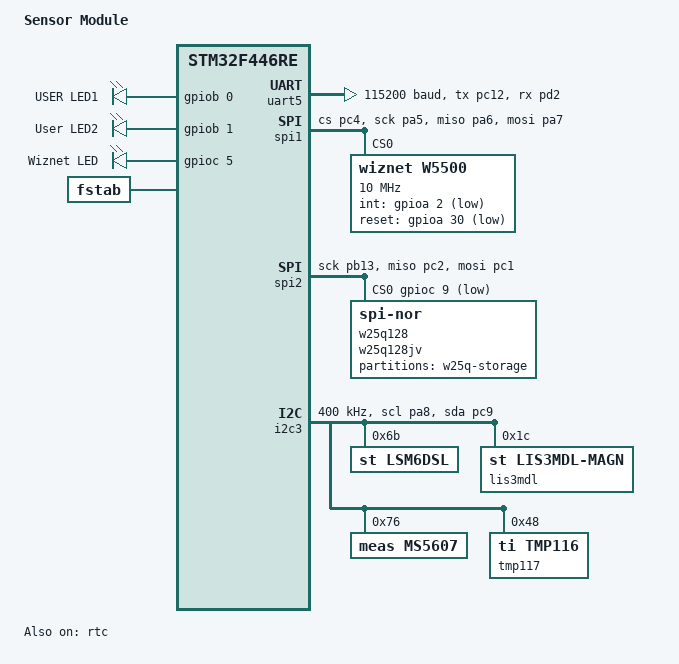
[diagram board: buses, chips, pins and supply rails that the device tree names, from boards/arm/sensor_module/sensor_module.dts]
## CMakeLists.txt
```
set(BOARD sensor_module)
set(BOARD_ROOT ${CMAKE_CURRENT_SOURCE_DIR})

cmake_minimum_required(VERSION 3.13.1)
find_package(Zephyr REQUIRED HINTS $ENV{ZEPHYR_BASE})

project(sensor-module LANGUAGES C)

FILE(GLOB sources src/*.c)
target_sources(app PRIVATE ${sources})

# root include directory
zephyr_include_directories(../include)
```

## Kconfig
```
# Copyright (c) 2024 Aaron Chan
# SPDX-License-Identifier: Apache-2.0

menu "Zephyr"
source "Kconfig.zephyr"
endmenu

module = APP_SENSOR_MODULE
module-str = APP_SENSOR_MODULE
source "subsys/logging/Kconfig.template.log_config"

config TEN_HZ_QUEUE_SIZE
    int "10 Hz Queue Size"
    default 4
    help
      The number of samples that can be stored in the 10 Hz telemetry processing queue

config HUNDRED_HZ_QUEUE_SIZE
    int "100 Hz Queue Size"
    default 16
    help
      The number of samples that can be stored in the 100 Hz telemetry processing queue

config EXTENSION_BOARD_QUEUE_SIZE
    int "Extension Board Queue Size"
    default 16
    help
      The number of samples that can be stored in the extension board telemetry processing queue
```

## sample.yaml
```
sample:
  description:
  name: sensor-module
common:
  build_only: true
  integration_platforms:
    - sensor_module@2
tests:
  app.default: {}
  app.debug:
    extra_overlay_confs:
      - debug.conf
```

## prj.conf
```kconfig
# Copyright (c) 2024 RIT Launch Initiative
# SPDX-License-Identifier: Apache-2.0

# Clocks
CONFIG_CLOCK_CONTROL=y

# Flash
CONFIG_FLASH=y
CONFIG_FLASH_MAP=y
CONFIG_FLASH_PAGE_LAYOUT=y

# Filesystem
CONFIG_DISK_ACCESS=y
CONFIG_FILE_SYSTEM=y
CONFIG_FILE_SYSTEM_LITTLEFS=y
CONFIG_FS_LITTLEFS_FMP_DEV=y

# Hashmap for UDP
CONFIG_SYS_HASH_MAP=y
CONFIG_SYS_HASH_FUNC32=y

# IO
CONFIG_GPIO=y
CONFIG_I2C=y
#CONFIG_I2C_CALLBACK=y
#CONFIG_I2C_RTIO=y
CONFIG_PINCTRL=y
CONFIG_SERIAL=y
CONFIG_SPI=y
CONFIG_SPI_ASYNC=y
# CONFIG_SPI_RTIO=y
CONFIG_LED=y

# OS
CONFIG_POLL=y
CONFIG_TIMESLICE_SIZE=50
CONFIG_MAIN_STACK_SIZE=2048

# Launch Core
CONFIG_LAUNCH_CORE=y
CONFIG_LAUNCH_CORE_NET=y

# Networking
CONFIG_NETWORKING=y
CONFIG_NET_ARP_TABLE_SIZE=4
CONFIG_NET_CONTEXT_RCVTIMEO=y
CONFIG_NET_DEFAULT_IF_ETHERNET=y
CONFIG_NET_DRIVERS=y
CONFIG_NET_IPV4=y
CONFIG_NET_IPV6=n
CONFIG_NET_L2_ETHERNET=y
CONFIG_NET_L2_ETHERNET_MGMT=y
CONFIG_NET_MAX_CONN=10
CONFIG_NET_SOCKETS=y
CONFIG_NET_SOCKETS_POSIX_NAMES=y
CONFIG_NET_STATISTICS=y
#CONFIG_SLIP=y
#CONFIG_SLIP_TAP=y

# Modbus
CONFIG_MODBUS=y

# RNG (Needed for networking)
CONFIG_ENTROPY_GENERATOR=y
CONFIG_TEST_RANDOM_GENERATOR=y # TODO: See if its worth using STM32 HW RNG to remove warning

# Sensors
CONFIG_SENSOR=y
CONFIG_SENSOR_ASYNC_API=y
CONFIG_SENSOR_INFO=y
CONFIG_TMP116=y
CONFIG_BMP388=y
CONFIG_LSM6DSL=y
CONFIG_ADXL375=y
CONFIG_MS5611=y

# State Machine
CONFIG_SMF=y
CONFIG_IREC_2024_DEMO=n
```

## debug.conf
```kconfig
# Copyright (c) 2024 Launch Initiative
# SPDX-License-Identifier: Apache-2.0

# Compiler
CONFIG_DEBUG=y
CONFIG_DEBUG_OPTIMIZATIONS=y
CONFIG_DEBUG_THREAD_INFO=y
CONFIG_THREAD_RUNTIME_STATS=y

# Console
CONFIG_CBPRINTF_FP_SUPPORT=y
CONFIG_CONSOLE=y
CONFIG_CONSOLE_GETCHAR=y
CONFIG_CONSOLE_GETCHAR_BUFSIZE=64
CONFIG_CONSOLE_PUTCHAR_BUFSIZE=512
CONFIG_CONSOLE_SUBSYS=y
CONFIG_SERIAL=y
CONFIG_STDOUT_CONSOLE=y
CONFIG_UART_CONSOLE=y

# Shell (common)
CONFIG_SHELL=y
CONFIG_DEVICE_SHELL=y
CONFIG_FILE_SYSTEM_SHELL=y
CONFIG_FLASH_MAP_SHELL=y
CONFIG_GPIO_SHELL=y
CONFIG_I2C_SHELL=y
CONFIG_KERNEL_SHELL=y
CONFIG_NET_SHELL=y
CONFIG_SENSOR_SHELL=y
CONFIG_HEAP_MEM_POOL_SIZE=4096

# Networking
CONFIG_TFTP_LIB=y

# Logging
CONFIG_APP_SENSOR_MODULE_LOG_LEVEL_DBG=y
CONFIG_LOG=y

# Networking
CONFIG_NET_STATISTICS=y
```

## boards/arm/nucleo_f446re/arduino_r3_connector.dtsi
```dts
/*
 * Copyright (c) 2019 Linaro Limited
 *
 * SPDX-License-Identifier: Apache-2.0
 */

/ {
	arduino_header: connector {
		compatible = "arduino-header-r3";
		#gpio-cells = <2>;
		gpio-map-mask = <0xffffffff 0xffffffc0>;
		gpio-map-pass-thru = <0 0x3f>;
		gpio-map = <0 0 &gpioa 0 0>,	/* A0 */
			   <1 0 &gpioa 1 0>,	/* A1 */
			   <2 0 &gpioa 4 0>,	/* A2 */
			   <3 0 &gpiob 0 0>,	/* A3 */
			   <4 0 &gpioc 1 0>,	/* A4 */
			   <5 0 &gpioc 0 0>,	/* A5 */
			   <6 0 &gpioa 3 0>,	/* D0 */
			   <7 0 &gpioa 2 0>,	/* D1 */
			   <8 0 &gpioa 10 0>,	/* D2 */
			   <9 0 &gpiob 3 0>,	/* D3 */
			   <10 0 &gpiob 5 0>,	/* D4 */
			   <11 0 &gpiob 4 0>,	/* D5 */
			   <12 0 &gpiob 10 0>,	/* D6 */
			   <13 0 &gpioa 8 0>,	/* D7 */
			   <14 0 &gpioa 9 0>,	/* D8 */
			   <15 0 &gpioc 7 0>,	/* D9 */
			   <16 0 &gpiob 6 0>,	/* D10 */
			   <17 0 &gpioa 7 0>,	/* D11 */
			   <18 0 &gpioa 6 0>,	/* D12 */
			   <19 0 &gpioa 5 0>,	/* D13 */
			   <20 0 &gpiob 9 0>,	/* D14 */
			   <21 0 &gpiob 8 0>;	/* D15 */
	};
};

arduino_serial: &usart2 {};
arduino_i2c: &i2c1 {};
arduino_spi: &spi1 {};
```

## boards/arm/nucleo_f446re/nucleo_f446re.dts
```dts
/*
 * Copyright (c) 2018 Philémon Jaermann
 *
 * SPDX-License-Identifier: Apache-2.0
 */

/dts-v1/;
#include <st/f4/stm32f446Xe.dtsi>
#include <st/f4/stm32f446r(c-e)tx-pinctrl.dtsi>
#include "arduino_r3_connector.dtsi"
#include "st_morpho_connector.dtsi"
#include <zephyr/dt-bindings/input/input-event-codes.h>

/ {
	model = "STMicroelectronics STM32F446RE-NUCLEO board";
	compatible = "st,stm32f446re-nucleo";

	chosen {
		zephyr,console = &usart2;
		zephyr,shell-uart = &usart2;
		zephyr,sram = &sram0;
		zephyr,flash = &flash0;
		zephyr,canbus = &can2;
	};

	leds: leds {
		compatible = "gpio-leds";
		green_led_2: led_2 {
			gpios = <&gpioa 5 GPIO_ACTIVE_HIGH>;
			label = "User LD2";
		};
	};

	gpio_keys {
		compatible = "gpio-keys";
		user_button: button {
			label = "User";
			gpios = <&gpioc 13 GPIO_ACTIVE_LOW>;
			zephyr,code = <INPUT_KEY_0>;
		};
	};

	aliases {
		led0 = &green_led_2;
        led1 = &green_led_2;
		sw0 = &user_button;
	};
};

&clk_lsi {
	status = "okay";
};

&clk_hse {
	hse-bypass;
	clock-frequency = <DT_FREQ_M(8)>; /* STLink 8MHz clock */
	status = "okay";
};

&pll {
	div-m = <8>;
	mul-n = <384>;
	div-p = <4>;
	div-q = <8>;
	clocks = <&clk_hse>;
	status = "okay";
};

&rcc {
	clocks = <&pll>;
	clock-frequency = <DT_FREQ_M(96)>;
	ahb-prescaler = <1>;
	apb1-prescaler = <2>;
	apb2-prescaler = <1>;
};

&usart1 {
	pinctrl-0 = <&usart1_tx_pb6 &usart1_rx_pb7>;
	pinctrl-names = "default";
	current-speed = <115200>;
	status = "okay";
};

&usart2 {
	pinctrl-0 = <&usart2_tx_pa2 &usart2_rx_pa3>;
	pinctrl-names = "default";
	current-speed = <115200>;
	status = "okay";
};

&i2c1 {
	pinctrl-0 = <&i2c1_scl_pb8 &i2c1_sda_pb9>;
	pinctrl-names = "default";
	status = "okay";
	clock-frequency = <I2C_BITRATE_FAST>;

//    adxl375: adxl375@53 {
//        compatible = "adi,adxl375";
//        reg = <0x53>;
//        status = "okay";
//    };

    bmp388: bmp388@77 {
        compatible = "bosch,bmp388";
        reg = <0x77>;
        status = "okay"; 
    };

    lsm6dsl: lsm6dsl@6a {
        compatible = "st,lsm6dsl";
        reg = <0x6a>;
        status = "okay";
    };

    lis3mdl: lis3mdl@1c {
        compatible = "st,lis3mdl-magn";
        reg = <0x1c>;
        status = "okay";
    };

    ms5607: ms5607@76 {
        compatible = "meas,ms5607";
        reg = <0x76>;
        status = "okay";
    };


    tmp117: tmp117@48 {
		compatible = "ti,tmp116"; // TMP117 Compatible
		reg = <0x48>;
		#address-cells = <1>;
		#size-cells = <0>;

		eeprom: ti_tmp116_eeprom@0 {
			compatible = "ti,tmp116-eeprom";
			reg = <0x0>;
			read-only;
		};
	};

};

&i2c2 {
	pinctrl-0 = <&i2c2_scl_pb10 &i2c2_sda_pb3>;
	pinctrl-names = "default";
	status = "okay";
	clock-frequency = <I2C_BITRATE_FAST>;
};

&i2c3 {
	pinctrl-0 = <&i2c3_scl_pa8 &i2c3_sda_pb4>;
	pinctrl-names = "default";
	status = "okay";
	clock-frequency = <I2C_BITRATE_FAST>;
};

&spi1 {
	pinctrl-0 = <&spi1_sck_pa5 &spi1_miso_pa6 &spi1_mosi_pa7>;
	pinctrl-names = "default";
	status = "okay";

    cs-gpios = <&gpioc 7 GPIO_ACTIVE_LOW>;
    
    w5500: w5500@0 {
        compatible = "wiznet,w5500";
        reg = <0x0>;
        spi-max-frequency = <10000000>;
        int-gpios = <&gpioa 4 GPIO_ACTIVE_LOW>;
        reset-gpios = <&gpioa 10 GPIO_ACTIVE_LOW>;
    };
};

&rtc {
	clocks = <&rcc STM32_CLOCK_BUS_APB1 0x10000000>,
		 <&rcc STM32_SRC_LSI RTC_SEL(2)>;
	status = "okay";
};

&backup_sram {
	status = "okay";
};

&can1 {
	/* CAUTION: PB8 and PB9 may conflict with same pins of I2C1 */
	pinctrl-0 = <&can1_rx_pb8 &can1_tx_pb9>;
	pinctrl-names = "default";
	bus-speed = <125000>;
	status = "okay";
};

&can2 {
	pinctrl-0 = <&can2_rx_pb12 &can2_tx_pb13>;
	pinctrl-names = "default";
	bus-speed = <125000>;
	status = "okay";
};

&flash0 {

	partitions {
		compatible = "fixed-partitions";
		#address-cells = <1>;
		#size-cells = <1>;

		boot_partition: partition@0 {
			label = "mcuboot";
			reg = <0x00000000 DT_SIZE_K(64)>;
			read-only;
		};

		/*
		 * The flash starting at 0x00010000 and ending at
		 * 0x0001ffff (sectors 16-31) is reserved for use
		 * by the application.
		 */
		storage_partition: partition@10000 {
			label = "storage";
			reg = <0x00010000 DT_SIZE_K(64)>;
		};

		slot0_partition: partition@20000 {
			label = "image-0";
			reg = <0x00020000 DT_SIZE_K(128)>;
		};
		slot1_partition: partition@40000 {
			label = "image-1";
			reg = <0x00040000 DT_SIZE_K(128)>;
		};
		scratch_partition: partition@60000 {
			label = "image-scratch";
			reg = <0x00060000 DT_SIZE_K(128)>;
		};
	};
};
```

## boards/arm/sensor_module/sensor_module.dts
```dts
/*
 * Copyright (c) 2018 Philémon Jaermann
 *
 * SPDX-License-Identifier: Apache-2.0
 */

/dts-v1/;
#include <st/f4/stm32f446Xe.dtsi>
#include <st/f4/stm32f446r(c-e)tx-pinctrl.dtsi>
#include <zephyr/dt-bindings/input/input-event-codes.h>
#include "sensor_module-pinctrl.dtsi"

/ {
    model = "Sensor Module";
    compatible = "st,stm32f446re-nucleo";

    chosen {
        zephyr,sram = &sram0;
        zephyr,flash = &flash0;
        zephyr,console = &uart5;

        storage = &w25q128;
        logfs = &lfs1;
    };

    leds: leds {
        compatible = "gpio-leds";

        red_led_1: led_1 {
            gpios = <&gpiob 0 GPIO_ACTIVE_HIGH>;
            label = "USER LED1";
        };

        red_led_2: led_2 {
            gpios = <&gpiob 1 GPIO_ACTIVE_HIGH>;
            label = "User LED2";
        };

        wiz_led: wiz_led {
            gpios = <&gpioc 5 GPIO_ACTIVE_HIGH>;
            label = "Wiznet LED";
        };
    };

    fstab {
        compatible = "zephyr,fstab";

        lfs1: lfs1 {
            compatible = "zephyr,fstab,littlefs";
            mount-point = "/lfs";
            partition = <&external_storage_partition>;
            automount;

            read-size = <16>;
            prog-size = <16>;
            cache-size = <64>;
            lookahead-size = <32>;
            block-cycles = <(90 * 1000)>;
        };
    };

    aliases {
        led0 = &red_led_1;
        led1 = &red_led_2;
    };
};

&clk_lsi {
    status = "okay";
};

&clk_hsi {
    clock-frequency = <DT_FREQ_M(16)>;
    status = "okay";
};

//&pll {
//	div-m = <8>;
//	mul-n = <384>;
//	div-p = <2>;
//	div-q = <2>;
//	clocks = <&clk_hsi>;
//	status = "okay";
//};

&rcc {
    clocks = <&clk_hsi>;
    clock-frequency = <DT_FREQ_M(16)>;
    ahb-prescaler = <1>;
    apb1-prescaler = <2>;
    apb2-prescaler = <1>;
};

&uart5 {
    pinctrl-0 = <&uart5_tx_pc12 &uart5_rx_pd2>;
    pinctrl-names = "default";
    current-speed = <115200>;
    status = "okay";
};

&spi1 {
    pinctrl-0 = <&eth_cs_pc4 &spi1_sck_pa5
                 &spi1_miso_pa6 &spi1_mosi_pa7>;
    pinctrl-names = "default";
    status = "okay";

    w5500: w5500@0 {
        compatible = "wiznet,w5500";
        reg = <0x0>;
        spi-max-frequency = <10000000>;
        int-gpios = <&gpioa 2 GPIO_ACTIVE_LOW>;
        reset-gpios = <&gpioa 30 GPIO_ACTIVE_LOW>;
    };
};

&spi2 {
    pinctrl-0 = <&spi2_sck_pb13 &spi2_miso_pc2 &spi2_mosi_pc1>;
    cs-gpios = <&gpioc 9 GPIO_ACTIVE_LOW>;

    pinctrl-names = "default";
    status = "okay";

    w25q128: w25q128jv@0 {
        compatible = "jedec,spi-nor";
        reg = <0>;

        spi-max-frequency = <(10 * 1000 * 1000)>;
        size = <DT_SIZE_M(128)>;
        jedec-id = [ef 40 18];

        has-dpd;
        t-enter-dpd = <(3 * 1000)>;
        t-exit-dpd = <(3 * 1000)>;

        partitions {
            compatible = "fixed-partitions";
            #address-cells = <1>;
            #size-cells = <1>;

            external_storage_partition: partition@0 {
                label = "w25q-storage";
                reg = <0 DT_SIZE_M(128)>;
            };
        };
    };
};

&i2c3 {
    pinctrl-0 = <&i2c3_scl_pa8 &i2c3_sda_pc9>;
    pinctrl-names = "default";
    status = "okay";
    clock-frequency = <I2C_BITRATE_FAST>;

    bmp388: bmp388@76 {
        compatible = "bosch,bmp388";
        reg = <0x76>;
        status = "disabled"; // addr conflict on V1
    };

    lsm6dsl: lsm6dsl@6b {
        compatible = "st,lsm6dsl";
        reg = <0x6b>;
        status = "okay";
    };

    lis3mdl: lis3mdl@1c {
        compatible = "st,lis3mdl-magn";
        reg = <0x1c>;
        status = "okay";
    };

    ms5607: ms5607@76 {
        compatible = "meas,ms5607";
        reg = <0x76>;
        status = "okay";
    };

    tmp117: tmp117@48 {
        compatible = "ti,tmp116"; // TMP117 Compatible
        reg = <0x48>;
        #address-cells = <1>;
        #size-cells = <0>;

        eeprom: ti_tmp116_eeprom@0 {
            compatible = "ti,tmp116-eeprom";
            reg = <0x0>;
            read-only;
        };
    };
};

&rtc {
    clocks = <&rcc STM32_CLOCK_BUS_APB1 0x10000000>,
             <&rcc STM32_SRC_LSI RTC_SEL(2)>;
    status = "okay";
};

&backup_sram {
    status = "okay";
};

&flash0 {
    partitions {
        compatible = "fixed-partitions";
        #address-cells = <1>;
        #size-cells = <1>;

        boot_partition: partition@0 {
            label = "mcuboot";
            reg = <0x00000000 DT_SIZE_K(64)>;
            read-only;
        };

        /*
         * The flash starting at 0x00010000 and ending at
         * 0x0001ffff (sectors 16-31) is reserved for use
         * by the application.
         */
        storage_partition: partition@10000 {
            label = "storage";
            reg = <0x00010000 DT_SIZE_K(64)>;
        };

        slot0_partition: partition@20000 {
            label = "image-0";
            reg = <0x00020000 DT_SIZE_K(128)>;
        };

        slot1_partition: partition@40000 {
            label = "image-1";
            reg = <0x00040000 DT_SIZE_K(128)>;
        };

        scratch_partition: partition@60000 {
            label = "image-scratch";
            reg = <0x00060000 DT_SIZE_K(128)>;
        };
    };
};
```

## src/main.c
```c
// Self Include
#include "sensor_module.h"

// Launch Includes
#include <launch_core/backplane_defs.h>
#include <launch_core/dev/dev_common.h>
#include <launch_core/os/fs.h>
#include <launch_core/utils/event_monitor.h>

// Zephyr Includes
#include <zephyr/drivers/gpio.h>
#include <zephyr/kernel.h>
#include <zephyr/logging/log.h>

LOG_MODULE_REGISTER(main, CONFIG_APP_SENSOR_MODULE_LOG_LEVEL);

void init() {
    init_networking();
}

int main() {
    init();
    return 0;
}
```

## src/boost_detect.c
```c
#include "sensor_module.h"

// Launch Includes
#include <launch_core/conversions.h>

// Zephyr Includes
#include <zephyr/kernel.h>

#define ALTITUDE_TIME_THRESHOLD K_SECONDS(5)
#define ALTITUDE_VAL_THRESHOLD 500

#define ACCEL_TIME_THRESHOLD K_MSEC(250)
#define ACCEL_VAL_THRESHOLD ((float)(9.81 * 5))

// Forward Declares
static void altitude_boost_detect_cb(struct k_timer*);
static void accel_boost_detect_cb(struct k_timer*);

// Timers
K_TIMER_DEFINE(altitude_boost_detect_timer, altitude_boost_detect_cb, NULL);
K_TIMER_DEFINE(accel_boost_detect_timer, accel_boost_detect_cb, NULL);

bool boost_detected = false;
extern float accel_z[DETECTION_METHOD_PER_SENSOR_COUNT];
extern float pressure[DETECTION_METHOD_PER_SENSOR_COUNT];
extern float temperature[DETECTION_METHOD_PER_SENSOR_COUNT];

static void altitude_boost_detect_cb(struct k_timer*) {
    static float prev_altitudes[2] = {0};
    static bool first_pass = true;

    if (first_pass) {
        first_pass = false;

        for (int i = 0; i < DETECTION_METHOD_PER_SENSOR_COUNT; i++) {
            prev_altitudes[i] = l_altitude_conversion(pressure[i], temperature[i]);
        }

        return;
    }

    for (int i = 0; i < DETECTION_METHOD_PER_SENSOR_COUNT; i++) {
        float altitude = l_altitude_conversion(pressure[i], temperature[i]);

        if ((altitude - prev_altitudes[i]) < ALTITUDE_VAL_THRESHOLD) {
            prev_altitudes[i] = altitude;
            continue;
        }

        boost_detected = true;
    }
}

static void accel_boost_detect_cb(struct k_timer*) {
    static float prev_accel_z[2] = {0};
    static bool first_pass = false;

    if (first_pass) {
        first_pass = false;
        prev_accel_z[0] = accel_z[0];
        prev_accel_z[1] = accel_z[1];

        return;
    }

    for (int i = 0; i < DETECTION_METHOD_PER_SENSOR_COUNT; i++) {
        if ((accel_z[i] - prev_accel_z[i]) < ACCEL_VAL_THRESHOLD) {
            prev_accel_z[i] = accel_z[i];
            continue;
        }

        boost_detected = true;
    }
}

void start_boost_detect() {
    k_timer_start(&altitude_boost_detect_timer, ALTITUDE_TIME_THRESHOLD, ALTITUDE_TIME_THRESHOLD);
    k_timer_start(&accel_boost_detect_timer, ACCEL_TIME_THRESHOLD, ACCEL_TIME_THRESHOLD);
}

void stop_boost_detect() {
    k_timer_stop(&altitude_boost_detect_timer);
    k_timer_stop(&accel_boost_detect_timer);
}

inline bool get_boost_detected() {
    return boost_detected;
}
```

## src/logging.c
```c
// Self Include
#include "sensor_module.h"

// Launch Includes
#include <launch_core/os/fs.h>
#include <launch_core/types.h>

// Zephyr Includes
#include <zephyr/kernel.h>
#include <zephyr/logging/log.h>

#define LOGGING_STACK_SIZE 4096
#define MAX_DIR_NAME_LEN   10 // 4 number boot count + 5 for "/lfs/" + 1 for end slash
#define MAX_FILE_NAME_LEN  3

LOG_MODULE_REGISTER(logging);

static void logging_task(void);
K_THREAD_DEFINE(data_logger, LOGGING_STACK_SIZE, logging_task, NULL, NULL, NULL, K_PRIO_PREEMPT(20), 0, THREAD_START_TIME);

// Message queues
#ifdef CONFIG_DEBUG
#define QUEUE_SIZE 100
#else
#define QUEUE_SIZE 1000
#endif

K_MSGQ_DEFINE(telem_logging_msgq, sizeof(sensor_module_telemetry_t), QUEUE_SIZE, 4);

static void init_logging(l_fs_file_t** p_telem_file) {
    uint32_t boot_count = l_fs_boot_count_check();

    // Create directory with boot count
    char dir_name[MAX_DIR_NAME_LEN] = "";
    snprintf(dir_name, sizeof(dir_name), "/lfs/%d", boot_count);
    LOG_INF("Logging files to %s", dir_name);
    fs_mkdir(dir_name);

    // Create filenames
    static char telem_file_name[MAX_DIR_NAME_LEN + MAX_FILE_NAME_LEN + 1] = "";
    snprintf(telem_file_name, sizeof(telem_file_name), "%s/hun", dir_name);

    // Initialize structs
    static l_fs_file_t telem_file = {
        .fname = telem_file_name,
        .width = sizeof(sensor_module_telemetry_t),
        .mode = SLOG_ONCE,
        .size = sizeof(sensor_module_telemetry_t) * SAMPLE_COUNT,
        .initialized = false,
        .file = {0},
        .dirent = {0},
        .vfs = {0},
        .wpos = 0,
    };

    // Initialize files
    if (l_fs_init(&telem_file) == 0) {
        LOG_INF("Successfully created file for storing data.");
        *p_telem_file = &telem_file;
    }
}

static void logging_task(void) {
    l_fs_file_t* telem_file = NULL;

    sensor_module_telemetry_t telem;

    while (telem_file == NULL) {
        init_logging(&telem_file);
        k_msleep(1000);
    }

    bool out_of_space = false;

        int i = 0;
    while (true) {
        i++;
        if (!k_msgq_get(&telem_logging_msgq, &telem, K_MSEC(10)) && (telem_file != NULL)) {
            LOG_INF("Logged data");

            int32_t err_flag = 0;
            l_fs_write(telem_file, (const uint8_t*) &telem, &err_flag);
            out_of_space = err_flag == -ENOSPC;
        }

        if (out_of_space) {
            LOG_INF("Out of space %d", i);
            l_fs_close(telem_file);
            return;
        }
    }
}
```

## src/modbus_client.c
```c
// Self Include
#include "sensor_module.h"

// Launch Include
#include <launch_core/backplane_defs.h>

// Zephyr Includes
#include <zephyr/drivers/gpio.h>
#include <zephyr/drivers/uart.h>
#include <zephyr/kernel.h>
#include <zephyr/logging/log.h>
#include <zephyr/sys/util.h>

LOG_MODULE_REGISTER(potato_comms);

K_TIMER_DEFINE(blasting_timer, NULL, NULL);

#define BLASTING_PERIOD K_SECONDS(1)

#define COMMS_STACK_SIZE 512
void potato_comms_handler(void*);
K_THREAD_DEFINE(potato_comms_thread, COMMS_STACK_SIZE, potato_comms_handler, NULL, NULL, NULL, K_PRIO_PREEMPT(20), 0,
                1000);

// Globals
// l_event_notification_t
static l_event_notification_t toblast = 0x0; // Won't be blasting until we get boost

void potato_comms_handler(void*) {
    const struct device* topotato = DEVICE_DT_GET(DT_ALIAS(topotato));
    static const struct gpio_dt_spec de_hack = GPIO_DT_SPEC_GET(DT_NODELABEL(de_hack), gpios);
    // get uart, wait for
    gpio_pin_set_dt(&de_hack, 1);

    LOG_INF("Potato comms ready");
    while (1) {
        k_timer_status_sync(&blasting_timer);
        uart_poll_out(topotato, toblast);
        if (toblast == L_LANDING_DETECTED) {
            break;
        }
    }
    // Spam landing for a minute longer
    for (int i = 0; i < 60; i++) {
        uart_poll_out(topotato, L_LANDING_DETECTED);
        k_msleep(1000);
    }
}

int write_boost_detect_byte_modbus(uint8_t event_byte) {
    toblast = event_byte;
    if (event_byte == L_BOOST_DETECTED) {
        k_timer_start(&blasting_timer, BLASTING_PERIOD, BLASTING_PERIOD);
    }
    return 0;
}
```

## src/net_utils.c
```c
/*
 * Copyright (c) 2023 Aaron Chan
 *
 * SPDX-License-Identifier: Apache-2.0
 */

#include "net_utils.h"

#include <zephyr/kernel.h>
#include <zephyr/net/socket.h>
#include <zephyr/net/ethernet.h>
#include <zephyr/net/net_event.h>

#include <zephyr/logging/log.h>

LOG_MODULE_REGISTER(net_utils, CONFIG_APP_LOG_LEVEL);

static struct net_if *net_interface;

int init_eth_iface(void) {
    const struct device *const wiznet = DEVICE_DT_GET_ONE(wiznet_w5500);
    if (!device_is_ready(wiznet)) {
        LOG_INF("Device %s is not ready.\n", wiznet->name);
        return -ENODEV;
    } 
    
    LOG_INF("Device %s is ready.\n", wiznet->name);
    return 0;
}

int init_net_stack(void) {
    static const char ip_addr[] = "10.10.10.69";
    int ret;

    net_interface = net_if_get_default();
    if (!net_interface) {
        LOG_INF("No network interface found\n");
        return -ENODEV;
    }

    struct in_addr addr;
    ret = net_addr_pton(AF_INET, ip_addr, &addr);
    if (ret < 0) {
        LOG_INF("Invalid IP address\n");
        return ret;
    }

    struct net_if_addr *ifaddr = net_if_ipv4_addr_add(net_interface, &addr, NET_ADDR_MANUAL, 0);
    if (!ifaddr) {
        LOG_INF("Failed to add IP address\n");
        return -ENODEV;
    }

    LOG_INF("IPv4 address configured: %s\n", ip_addr);

    return 0;
}

int send_udp_broadcast(const uint8_t *data, size_t data_len) {
    int sock;
    int ret;

    sock = socket(AF_INET, SOCK_DGRAM, IPPROTO_UDP);
    if (sock < 0) {
        LOG_INF("Failed to create socket (%d)\n", sock);
        return sock;
    }

    struct sockaddr_in dst_addr;
    dst_addr.sin_family = AF_INET;
    dst_addr.sin_port = htons(12000);
    ret = net_addr_pton(AF_INET, "255.255.255.255", &dst_addr.sin_addr);
    if (ret < 0) {
        LOG_INF("Invalid IP address format\n");
        close(sock);
        return ret;
    }

    ret = sendto(sock, data, data_len, 0, (struct sockaddr *) &dst_addr, sizeof(dst_addr));
    if (ret < 0) {
        LOG_INF("Failed to send UDP broadcast (%d)\n", ret);
        close(sock);
        return ret;
    }

    LOG_INF("Sent UDP broadcast: %s\n", data);

    close(sock);
    return 0;
}
```

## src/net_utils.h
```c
/*
 * Copyright (c) 2023 Aaron Chan
 *
 * SPDX-License-Identifier: Apache-2.0
 */

#ifndef SENSOR_MODULE_NET_UTILS_H_
#define SENSOR_MODULE_NET_UTILS_H_

#include <stdint.h>
#include <stddef.h>

int init_eth_iface(void); 

int init_net_stack(void);

int send_udp_broadcast(const uint8_t *data, size_t data_len, uint16_t port);

#endif
```

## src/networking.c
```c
// Self Include
#include "sensor_module.h"

// Launch Includes
#include <launch_core/dev/dev_common.h>
#include <launch_core/types.h>

// Zephyr Includes
#include <launch_core/backplane_defs.h>
#include <launch_core/net/udp.h>
#include <zephyr/kernel.h>
#include <zephyr/logging/log.h>

LOG_MODULE_REGISTER(networking);

static void telemetry_broadcast_task(void*, void*, void*);

K_THREAD_DEFINE(telemetry_broadcast, 1024, telemetry_broadcast_task, NULL, NULL, NULL, K_PRIO_PREEMPT(20), 0, 1000);

extern struct k_msgq telem_queue;

int init_networking(void) {
    if (l_check_device(DEVICE_DT_GET_ONE(wiznet_w5500)) != 0) {
        LOG_ERR("Wiznet device not found");
        return -ENODEV;
    }

    int ret = l_init_udp_net_stack_default(SENSOR_MODULE_IP_ADDR);
    if (ret != 0) {
        LOG_ERR("Failed to initialize UDP networking stack: %d", ret);
        return -ENXIO;
    }

    return 0;
}

static void telemetry_broadcast_task(void*, void*, void*) {
    LOG_INF("Starting broadcast task");

    sensor_module_hundred_hz_telemetry_t telem;

    int hundred_hz_socket =
        l_init_udp_socket(SENSOR_MODULE_IP_ADDR, SENSOR_MODULE_BASE_PORT + SENSOR_MODULE_TEN_HZ_DATA_PORT);

    while (true) {
        if (0 == k_msgq_get(&telem_queue, &telem, K_MSEC(20))) {
            l_send_udp_broadcast(hundred_hz_socket, (uint8_t*) &telem,
                                 sizeof(sensor_module_hundred_hz_telemetry_t),
                                 SENSOR_MODULE_BASE_PORT + SENSOR_MODULE_HUNDRED_HZ_DATA_PORT);
        }
    }
}
```

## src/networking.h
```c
#ifndef SENSOR_MODULE_NETWORKING_H
#define SENSOR_MODULE_NETWORKING_H

#include <launch_core/backplane_defs.h>
#include <launch_core/net/net_common.h>
#include <launch_core/net/udp.h>

#define SENSOR_MODULE_IP_ADDR BACKPLANE_IP(SENSOR_MODULE_ID, 2, 1) // TODO: KConfig the board revision and #

#endif //SENSOR_MODULE_NETWORKING_H
```

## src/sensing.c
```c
// Self Include
#include "sensor_module.h"

// stdlib Includes
#include <stdint.h>

// Launch Includes
#include <launch_core/dev/dev_common.h>
#include <launch_core/dev/sensor.h>

// Zephyr Includes
#include <zephyr/devicetree.h>
#include <zephyr/kernel.h>
#include <zephyr/logging/log.h>

// Constants
#define SENSOR_READING_STACK_SIZE            1024
#define HUNDRED_HZ_TELEM_PRIORITY            20
#define SENSOR_MODULE_SENSOR_COUNT 5

// Forward Declarations
static void hundred_hz_sensor_reading_task(void);

// Threads
K_THREAD_DEFINE(hundred_hz_readings, SENSOR_READING_STACK_SIZE, hundred_hz_sensor_reading_task, NULL, NULL, NULL,
                K_PRIO_PREEMPT(HUNDRED_HZ_TELEM_PRIORITY), 0, SENSOR_READ_THREAD_START_TIME);

// Message Queues
K_MSGQ_DEFINE(telem_queue, sizeof(sensor_module_hundred_hz_telemetry_t), 16, 1);

// Extern Variables
extern struct k_msgq telem_logging_msgq;

bool logging_enabled = false;

LOG_MODULE_REGISTER(sensing_tasks);

static void check_sensors_ready(const struct device* const* sensors, bool* sensor_ready, uint8_t num_sensors) {
    for (uint8_t i = 0; i < num_sensors; i++) {
        if (l_check_device(sensors[i]) == 0) {
            sensor_ready[i] = true;
        } else {
            sensor_ready[i] = false;
        }
    }
}

static void setup_lsm6dsl() {
    const struct device* lsm6dsl = DEVICE_DT_GET_ONE(st_lsm6dsl);
    const struct sensor_value odr_attr = {.val1 = 104, .val2 = 0};

    if (sensor_attr_set(lsm6dsl, SENSOR_CHAN_ACCEL_XYZ, SENSOR_ATTR_SAMPLING_FREQUENCY, &odr_attr) < 0) {
        LOG_ERR("Cannot set sampling frequency for LSM6DSL accelerometer.\n");
    }

    if (sensor_attr_set(lsm6dsl, SENSOR_CHAN_GYRO_XYZ, SENSOR_ATTR_SAMPLING_FREQUENCY, &odr_attr) < 0) {
        LOG_ERR("Cannot set sampling frequency for LSM6DSL gyroscope.\n");
    }
}

static void hundred_hz_sensor_reading_task(void) {
    LOG_INF("Starting sensor task");
    // Initialize variables for receiving telemetry
    sensor_module_hundred_hz_telemetry_t telemetry;


    const struct device* adxl375 = DEVICE_DT_GET_ONE(adi_adxl375);
    const struct device* ms5611 = DEVICE_DT_GET_ONE(meas_ms5611);
    const struct device* bmp388 = DEVICE_DT_GET_ONE(bosch_bmp388);
    const struct device* lsm6dsl = DEVICE_DT_GET_ONE(st_lsm6dsl);
    const struct device* lis3mdl = DEVICE_DT_GET_ONE(st_lis3mdl_magn);

    const struct device* sensors[SENSOR_MODULE_SENSOR_COUNT] = {adxl375,
                                                                  ms5611,
                                                                  bmp388,
                                                                  lsm6dsl,
                                                                  lis3mdl};
    // Perform any necessary sensor setup
    setup_lsm6dsl();

    // Confirm sensors are ready
    bool sensor_ready[SENSOR_MODULE_SENSOR_COUNT] = {false};
    check_sensors_ready(sensors, sensor_ready, SENSOR_MODULE_SENSOR_COUNT);

    while (true) {
        // Refresh sensor data
        for (uint8_t i = 0; i < SENSOR_MODULE_SENSOR_COUNT; i++) {
            if (sensor_sample_fetch(sensors[i])) {
                LOG_ERR("Failed to fetch %s data %d", sensors[i]->name, i);
            }
        }
        l_get_accelerometer_data_float(adxl375, &telemetry.adxl375);
        l_get_accelerometer_data_float(lsm6dsl, &telemetry.lsm6dsl_accel);
        l_get_gyroscope_data_float(lsm6dsl, &telemetry.lsm6dsl_gyro);
        l_get_barometer_data_float(ms5611, &telemetry.ms5611);
        l_get_barometer_data_float(bmp388, &telemetry.bmp388);
        l_get_magnetometer_data_float(lis3mdl, &telemetry.lis3mdl);

        // Put telemetry into queue
        k_msgq_put(&telem_queue, &telemetry, K_MSEC(10));
        k_msgq_put(&telem_logging_msgq, &telemetry, K_MSEC(10));

        k_msleep(20);
    }
}
```

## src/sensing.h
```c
#ifndef SENSOR_MODULE_SENSING_H
#define SENSOR_MODULE_SENSING_H

typedef enum {
    SENSOR_MODULE_ADXL375 = 0,
    SENSOR_MODULE_BMP388,
    SENSOR_MODULE_LIS3MDL,
    SENSOR_MODULE_LSM6DSL,
    SENSOR_MODULE_MS5611,
    SENSOR_MODULE_NUM_HUNDRED_HZ_SENSORS
} sensor_module_hundred_hz_sensor_t;

/**
 * Start tasks for getting sensor data
 */
void start_sensor_tasks();

#endif //SENSOR_MODULE_SENSING_H
```

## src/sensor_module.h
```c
#ifndef SENSOR_MODULE_H
#define SENSOR_MODULE_H

#include <launch_core/net/net_common.h>
#include <launch_core/types.h>
#include <stdbool.h>

#define SENSOR_MODULE_IP_ADDR             BACKPLANE_IP(SENSOR_MODULE_ID, 2, 1)
#define DETECTION_METHOD_PER_SENSOR_COUNT 2

#ifdef CONFIG_DEBUG
#define THREAD_START_TIME 0
#define SAMPLE_COUNT 10
#define SENSOR_READ_THREAD_START_TIME 0
#else
#define THREAD_START_TIME 60000 * 5 // 5 minutes
#define SAMPLE_COUNT 512000000 / sizeof(sensor_module_telemetry_t)
#define SENSOR_READ_THREAD_START_TIME 60000 * 5
#endif

typedef enum { PAD_STATE = 0, PRE_MAIN_STATE, POST_MAIN_STATE, LANDING_STATE } FLIGHT_STATES;

typedef enum {
    SENSOR_MODULE_ADXL375 = 0,
    SENSOR_MODULE_BMP388,
    SENSOR_MODULE_LIS3MDL,
    SENSOR_MODULE_LSM6DSL,
    SENSOR_MODULE_MS5611,
    SENSOR_MODULE_NUM_HUNDRED_HZ_SENSORS
} sensor_module_hundred_hz_sensor_t;

typedef struct __attribute__((packed)) {
    uint64_t timestamp;
    l_accelerometer_data_t adxl375;
    l_accelerometer_data_t lsm6dsl_accel;

    l_barometer_data_t ms5611;
    l_barometer_data_t bmp388;

    l_gyroscope_data_t lsm6dsl_gyro;

    l_magnetometer_data_t lis3mdl;
    l_temperature_data_t tmp117;
} sensor_module_telemetry_t;

typedef struct __attribute__((packed)) {
    uint64_t timestamp;
    sensor_module_ten_hz_telemetry_t data;
} timed_sensor_module_ten_hz_telemetry_t;

void init();

int init_networking(void);

/**
 * Start tasks for getting sensor data
 */
void start_sensor_tasks();


#endif //SENSOR_MODULE_H
```

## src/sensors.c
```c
// Self Include
#include "sensors.h"

// stdlib Includes
#include <stdint.h>

// Launch Includes
#include <launch_core/dev/dev_common.h>
#include <launch_core/dev/sensor.h>
#include <launch_core/types.h>

// Zephyr Includes
#include <zephyr/devicetree.h>
#include <zephyr/kernel.h>
#include <zephyr/logging/log.h>

// Constants
#define SENSOR_READING_STACK_SIZE            1024
#define HUNDRED_HZ_TELEM_PRIORITY            10
#define SENSOR_MODULE_NUM_HUNDRED_HZ_SENSORS 5
#define HUNDRED_HZ_UPDATE_TIME               10

// Forward Declarations
static void hundred_hz_sensor_reading_task(void *unused0, void *unused1, void *unused2);

// Threads
K_THREAD_DEFINE(hundred_hz_readings, SENSOR_READING_STACK_SIZE, hundred_hz_sensor_reading_task, NULL, NULL, NULL,
                HUNDRED_HZ_TELEM_PRIORITY, 0, 0);

// Message Queues
K_MSGQ_DEFINE(hundred_hz_telem_queue, sizeof(sensor_module_hundred_hz_telemetry_t), 16, 1);

LOG_MODULE_REGISTER(sensing_tasks);

static void check_sensors_ready(const struct device *const *sensors, bool *sensor_ready, uint8_t num_sensors) {
    for (uint8_t i = 0; i < num_sensors; i++) {
        if (l_check_device(sensors[i]) == 0) {
            sensor_ready[i] = true;
        } else {
            LOG_INF("Sensor %d not ready", i);
            sensor_ready[i] = false;
        }
    }
}

static void hundred_hz_sensor_reading_task(void *unused0, void *unused1, void *unused2) {
    ARG_UNUSED(unused0);
    ARG_UNUSED(unused1);
    ARG_UNUSED(unused2);

    // Initialize variables for receiving telemetry
    sensor_module_hundred_hz_telemetry_t hundred_hz_telemetry;
    uint32_t timestamp = 0;

    const struct device *adxl375 = DEVICE_DT_GET_ONE(adi_adxl375);
    //    const struct device *ms5611 = DEVICE_DT_GET_ONE(meas_ms5611);
    const struct device *bmp388 = DEVICE_DT_GET_ONE(bosch_bmp388);
    const struct device *lsm6dsl = DEVICE_DT_GET_ONE(st_lsm6dsl);
    const struct device *lis3mdl = DEVICE_DT_GET_ONE(st_lis3mdl_magn);

    const struct device *sensors[SENSOR_MODULE_NUM_HUNDRED_HZ_SENSORS] = {adxl375,
                                                                          //            ms5611,
                                                                          bmp388, lsm6dsl, lis3mdl};

    // Confirm sensors are ready
    bool sensor_ready[SENSOR_MODULE_NUM_HUNDRED_HZ_SENSORS] = {false};
    check_sensors_ready(sensors, sensor_ready, SENSOR_MODULE_NUM_HUNDRED_HZ_SENSORS);
    return;

    while (true) {
        // Refresh sensor data
        l_update_sensors_safe(sensors, SENSOR_MODULE_NUM_HUNDRED_HZ_SENSORS, sensor_ready);
        timestamp = k_uptime_get_32();

        l_get_accelerometer_data_float(adxl375, &hundred_hz_telemetry.adxl375);
        l_get_accelerometer_data_float(lsm6dsl, &hundred_hz_telemetry.lsm6dsl_accel);
        //        l_get_barometer_data_float(ms5611, &hundred_hz_telemetry.ms5611);
        l_get_barometer_data_float(bmp388, &hundred_hz_telemetry.bmp388);
        l_get_gyroscope_data_float(lsm6dsl, &hundred_hz_telemetry.lsm6dsl_gyro);
        l_get_magnetometer_data_float(lis3mdl, &hundred_hz_telemetry.lis3mdl);

        // Put telemetry into queue
        if (k_msgq_put(&hundred_hz_telem_queue, &hundred_hz_telemetry, K_NO_WAIT)) {
            LOG_ERR("Failed to put data into sensor processing queue");
        }

        // Sleep until next update time. TODO: Maybe use timers and signals?
        uint32_t time_to_wait = HUNDRED_HZ_UPDATE_TIME - (k_uptime_get_32() - timestamp);
        if (time_to_wait > 0) {
            k_sleep(K_MSEC(time_to_wait));
        }
    }
}
```

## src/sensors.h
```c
#ifndef SENSOR_MODULE_SENSORS_H
#define SENSOR_MODULE_SENSORS_H

typedef enum {
    SENSOR_MODULE_ADXL375 = 0,
    SENSOR_MODULE_BMP388,
    SENSOR_MODULE_LIS3MDL,
    SENSOR_MODULE_LSM6DSL,
    SENSOR_MODULE_MS5611,
    SENSOR_MODULE_NUM_HUNDRED_HZ_SENSORS
} sensor_module_hundred_hz_sensor_t;

/**
 * Start tasks for getting sensor data
 */
void start_sensor_tasks();

#endif //SENSOR_MODULE_SENSORS_H
```
